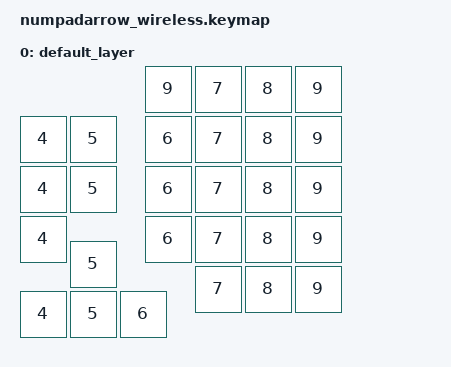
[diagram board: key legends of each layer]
/*
 * Copyright (c) 2020 The ZMK Contributors
 *
 * SPDX-License-Identifier: MIT
 */

#include <behaviors.dtsi>
#include <dt-bindings/zmk/keys.h>
#include <dt-bindings/zmk/bt.h>

/ {
    keymap {
        compatible = "zmk,keymap";

        default_layer {
// -------------------
// | 7      |  8  |  9  |
// | 4      |  5  |  6  |
// | 1      |  2  |  3  |
// | MO(1)  |  0  |  .  |
// ----------------------
            bindings = <
                    &kp N9  &kp N7  &kp N8  &kp N9
    &kp N4  &kp N5  &kp N6  &kp N7  &kp N8  &kp N9
    &kp N4  &kp N5  &kp N6  &kp N7  &kp N8  &kp N9
    &kp N4  &kp N5  &kp N6  &kp N7  &kp N8  &kp N9
    &kp N4  &kp N5  &kp N6  &kp N7  &kp N8  &kp N9
            >;
        };
    };
};

